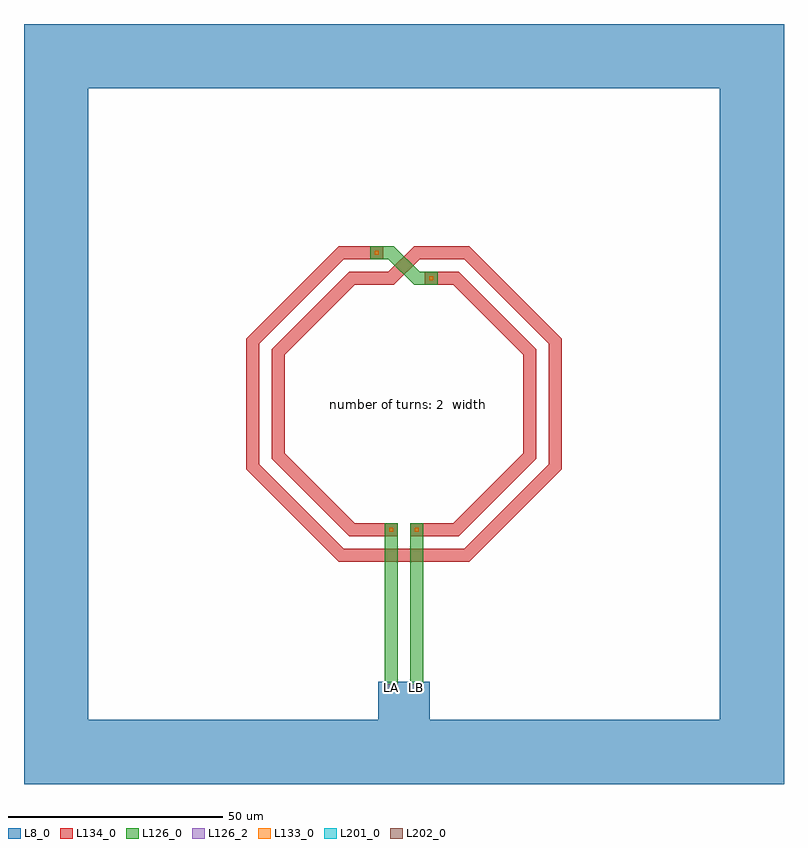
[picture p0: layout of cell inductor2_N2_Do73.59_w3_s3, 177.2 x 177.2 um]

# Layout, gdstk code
import gdstk
lib = gdstk.Library(unit=1e-6, precision=1e-09)
def R(c, l, rs):  # rectangles x0, y0, x1, y1
    for r in rs: c.add(gdstk.rectangle(r[:2], r[2:], *l))
def P(c, l, *ps):  # polygons
    for p in ps: c.add(gdstk.Polygon(p, *l))
L8_0 = (8, 0)
L126_0 = (126, 0)
L126_2 = (126, 2)
L133_0 = (133, 0)
L134_0 = (134, 0)
L201_0 = (201, 0)
L202_0 = (202, 0)

inductor2_n2_do73_59_w3_ = lib.new_cell('inductor2_N2_Do73.59_w3_s3')
R(inductor2_n2_do73_59_w3_, L8_0, [(-88.6,-88.6,-73.6,88.6), (-73.6,-88.6,73.6,-73.6), (73.6,-88.6,88.6,88.6), (-6,-73.6,6,-64.8), (-73.6,73.6,73.6,88.6)])
R(inductor2_n2_do73_59_w3_, L126_0, [(-4.5,-66.8,-1.5,-27.8), (1.5,-66.8,4.5,-27.8)])
P(inductor2_n2_do73_59_w3_, L126_0, [(-7.86,36.8),(-7.86,33.8),(-3.621,33.8),(2.379,27.8),(7.86,27.8),(7.86,30.8),(3.621,30.8),(-2.379,36.8)])
R(inductor2_n2_do73_59_w3_, L126_2, [(-4.5,-66.8,-1.5,-65.3), (1.5,-66.8,4.5,-65.3)])
R(inductor2_n2_do73_59_w3_, L133_0, [(-3.45,-29.75,-2.55,-28.85), (2.55,-29.75,3.45,-28.85), (5.92,28.85,6.82,29.75), (-6.82,34.85,-5.92,35.75)])
R(inductor2_n2_do73_59_w3_, L134_0, [(-7.865,-36.8,7.865,-33.8)])
P(inductor2_n2_do73_59_w3_, L134_0, [(-4.86,-36.8),(-4.86,-33.8),(-13.999,-33.8),(-33.8,-13.999),(-33.8,3),(-36.8,3),(-36.8,-15.241),(-15.241,-36.8)],
  [(-4.86,33.8),(-4.86,36.8),(-15.241,36.8),(-36.8,15.241),(-36.8,-3),(-33.8,-3),(-33.8,13.999),(-13.999,33.8)],
  [(4.86,-33.8),(4.86,-36.8),(15.241,-36.8),(36.8,-15.241),(36.8,3),(33.8,3),(33.8,-13.999),(13.999,-33.8)],
  [(4.86,36.8),(4.86,33.8),(13.999,33.8),(33.8,13.999),(33.8,-3),(36.8,-3),(36.8,15.241),(15.241,36.8)],
  [(-1.5,-30.8),(-1.5,-27.8),(-11.519,-27.8),(-27.8,-11.519),(-27.8,3),(-30.8,3),(-30.8,-12.761),(-12.761,-30.8)],
  [(-4.86,27.8),(-4.86,30.8),(-12.761,30.8),(-30.8,12.761),(-30.8,-3),(-27.8,-3),(-27.8,11.519),(-11.519,27.8)],
  [(1.5,-27.8),(1.5,-30.8),(12.761,-30.8),(30.8,-12.761),(30.8,3),(27.8,3),(27.8,-11.519),(11.519,-27.8)],
  [(4.86,30.8),(4.86,27.8),(11.519,27.8),(27.8,11.519),(27.8,-3),(30.8,-3),(30.8,12.761),(12.761,30.8)],
  [(-7.86,30.8),(-7.86,27.8),(-2.379,27.8),(3.621,33.8),(7.86,33.8),(7.86,36.8),(2.379,36.8),(-3.621,30.8)])
R(inductor2_n2_do73_59_w3_, L201_0, [(-4.5,-66.8,-1.5,-66.7)])
R(inductor2_n2_do73_59_w3_, L202_0, [(1.5,-66.8,4.5,-66.7)])
inductor2_n2_do73_59_w3_.add(gdstk.Label('LA', (-3,-66.05), layer=27, texttype=25))
inductor2_n2_do73_59_w3_.add(gdstk.Label('LB', (3,-66.05), layer=27, texttype=25))
inductor2_n2_do73_59_w3_.add(gdstk.Label('  number of turns: 2\n  width: 3.00\n  spacing: 3.00\n  outer diameter: 73.60\n  inner diameter: 55.60\n', (0,0), layer=63, texttype=0))

lib.write_gds('inductor2_N2_Do73.59_w3_s3.gds')
